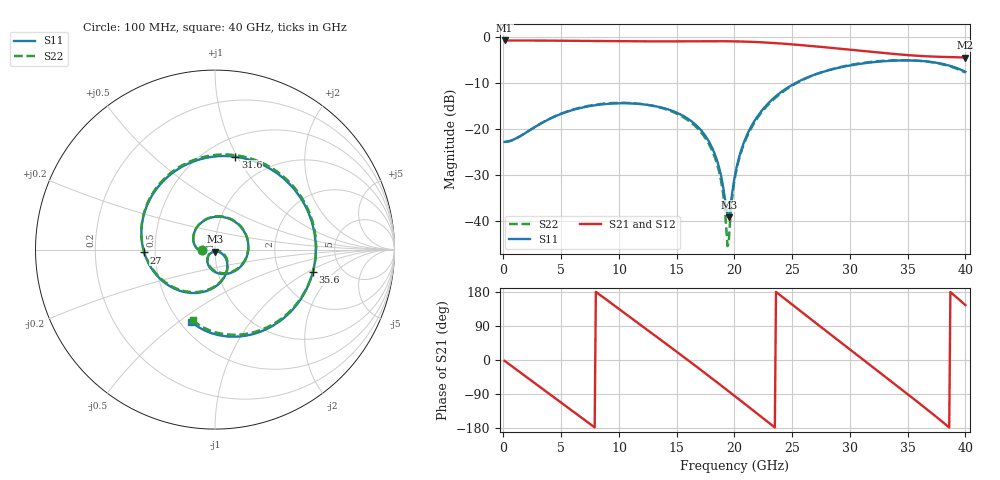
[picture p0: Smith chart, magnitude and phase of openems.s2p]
! C_s8_ap600: L1→L8, antipad Ø0.6 on every plane
! stackup: 8-layer 1.6 mm FR-4 (generic)
! ports: 1, 2
! openEMS 0.37.0, staircase, fine mesh (dfine 0.0175 mm), 1165164 cells
# Hz S RI R 50
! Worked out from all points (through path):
!   400 points, 100 MHz to 40 GHz, reference 50 ohm
!   highest |S21| = -0.65 dB at 100 MHz (marker M1); lowest = -4.4 dB at 40 GHz (marker M2)
!   group delay of S21, straight-line fit = 64.7 ps
!   lowest |S11| = -39.3 dB at 19.5 GHz (marker M3), VSWR 1.02, Z = 50.2 - j1.07 ohm
!   |S11| at or under -10 dB: start of sweep to 25.25 GHz
!   |S22| runs from -45.6 to -5.0 dB; largest |S21 - S12| = 0.0046
!   S11 on the Smith chart (normalised r, x): 100 MHz: 0.86, -0.00; 27 GHz: 0.43, -0.02; 31.6 GHz: 0.68, +0.98; 35.6 GHz: 3.10, -1.11; 40 GHz: 0.57, -0.55
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1e8  -0.0724 -0.000497  0.9268 -0.0365  0.9268 -0.0365  -0.0723 -0.000471
1.7e9  -0.0874 -0.00193  0.7273 -0.5744  0.7273 -0.5744  -0.0873 -0.00149
3.6e9  -0.1171 0.034  0.1433 -0.9134  0.1432 -0.9133  -0.117 0.0349
6.8e9  -0.0646 0.1588  -0.8189 -0.4154  -0.8187 -0.4152  -0.065 0.1606
8.6e9  0.04 0.1821  -0.8883 0.2151  -0.888 0.2149  0.0392 0.1849
1.06e10  0.1543 0.1128  -0.4735 0.7764  -0.4738 0.776  0.1538 0.1172
1.34e10  0.1574 -0.0769  0.4773 0.7702  0.4771 0.771  0.1585 -0.0715
1.57e10  0.0255 -0.1339  0.9031 0.0932  0.9039 0.0934  0.0272 -0.129
1.79e10  -0.0426 -0.0544  0.6446 -0.6434  0.6448 -0.644  -0.0415 -0.0495
1.88e10  -0.025 -0.0211  0.3698 -0.8319  0.3699 -0.8324  -0.0243 -0.0157
1.95e10  0.00251 -0.0106  0.1179 -0.9012  0.118 -0.9016  0.00318 -0.00463
2.01e10  0.0295 -0.0166  -0.1068 -0.9001  -0.1067 -0.9006  0.0303 -0.0101
2.13e10  0.0674 -0.0712  -0.5195 -0.7321  -0.5198 -0.733  0.0691 -0.0639
2.34e10  -0.0155 -0.2172  -0.8675 -0.067  -0.8694 -0.067  -0.0117 -0.2107
2.67e10  -0.3777 -0.0611  -0.2206 0.7751  -0.2184 0.7768  -0.3765 -0.0581
2.7e10  -0.3947 -0.0158  -0.1221 0.7901  -0.1195 0.7913  -0.3939 -0.0128
2.95e10  -0.277 0.3928  0.5745 0.4765  0.5743 0.4738  -0.2813 0.3964
3.16e10  0.114 0.5173  0.6921 -0.1208  0.6895 -0.1197  0.1042 0.5271
3.34e10  0.444 0.3328  0.4078 -0.5287  0.4092 -0.5257  0.436 0.3532
3.56e10  0.5455 -0.1234  -0.1582 -0.6138  -0.155 -0.6163  0.5518 -0.0977
3.8e10  0.2074 -0.4718  -0.5867 -0.1802  -0.5905 -0.1829  0.2227 -0.4582
4e10  -0.1336 -0.401  -0.4944 0.3473  -0.4971 0.3505  -0.1234 -0.3946
